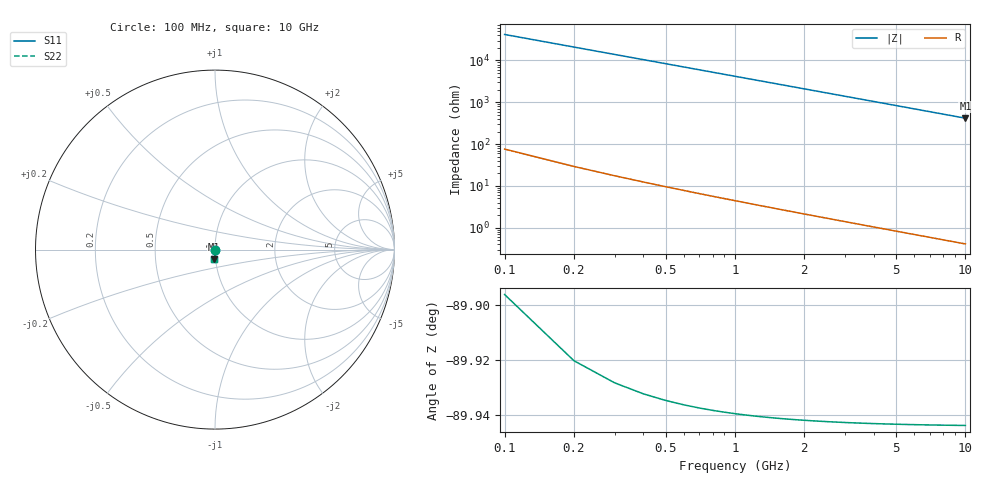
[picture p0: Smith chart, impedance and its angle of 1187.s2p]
# Hz S RI R 50.00
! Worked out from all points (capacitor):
!   100 points, 100 MHz to 10 GHz, reference 50 ohm
!   read as one part in shunt: C = 38 fF near 100 MHz
!   lowest |Z| = 416 ohm at 10 GHz (marker M1)
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1e8  2.15e-05 -0.000543  1 -0.000649  1 -0.000649  2.15e-05 -0.000543
2e8  2e-05 -0.00109  1 -0.0013  1 -0.0013  2e-05 -0.00109
3e8  1.78e-05 -0.00163  1 -0.00195  1 -0.00195  1.78e-05 -0.00163
4e8  1.49e-05 -0.00217  1 -0.0026  1 -0.0026  1.49e-05 -0.00217
5e8  1.12e-05 -0.00272  1 -0.00325  1 -0.00325  1.12e-05 -0.00272
6e8  6.8e-06 -0.00326  1 -0.0039  1 -0.0039  6.8e-06 -0.00326
7e8  1.7e-06 -0.0038  1 -0.00455  1 -0.00455  1.7e-06 -0.0038
8e8  -4.11e-06 -0.00434  0.9999 -0.00519  0.9999 -0.00519  -4.11e-06 -0.00434
9e8  -1.06e-05 -0.00489  0.9999 -0.00584  0.9999 -0.00584  -1.06e-05 -0.00489
1.1e9  -2.58e-05 -0.00597  0.9999 -0.00714  0.9999 -0.00714  -2.58e-05 -0.00597
1.4e9  -5.39e-05 -0.0076  0.9999 -0.00909  0.9999 -0.00909  -5.39e-05 -0.0076
1.8e9  -0.000101 -0.00978  0.9998 -0.0117  0.9998 -0.0117  -0.000101 -0.00978
2.1e9  -0.000144 -0.0114  0.9998 -0.0136  0.9998 -0.0136  -0.000144 -0.0114
2.5e9  -0.000211 -0.0136  0.9997 -0.0162  0.9997 -0.0162  -0.000211 -0.0136
2.9e9  -0.00029 -0.0158  0.9997 -0.0188  0.9997 -0.0188  -0.00029 -0.0158
3.4e9  -0.000404 -0.0185  0.9995 -0.0221  0.9995 -0.0221  -0.000404 -0.0185
4.2e9  -0.000624 -0.0228  0.9993 -0.0273  0.9993 -0.0273  -0.000624 -0.0228
5.1e9  -0.000926 -0.0277  0.999 -0.0332  0.999 -0.0332  -0.000926 -0.0277
5.9e9  -0.00124 -0.0321  0.9987 -0.0384  0.9987 -0.0384  -0.00124 -0.0321
6.7e9  -0.00161 -0.0365  0.9983 -0.0436  0.9983 -0.0436  -0.00161 -0.0365
8.4e9  -0.00253 -0.0457  0.9974 -0.0547  0.9974 -0.0547  -0.00253 -0.0457
1e10  -0.0036 -0.0545  0.9963 -0.0652  0.9963 -0.0652  -0.0036 -0.0545
